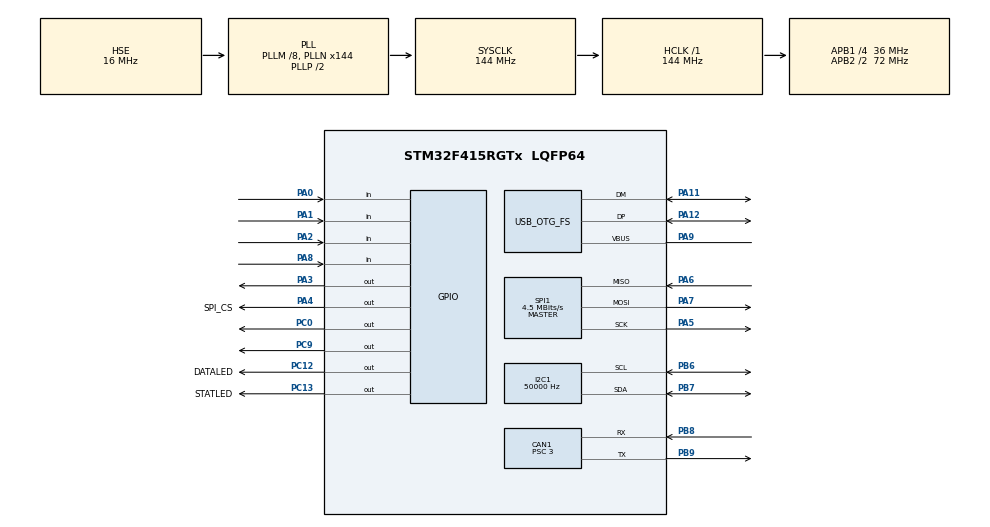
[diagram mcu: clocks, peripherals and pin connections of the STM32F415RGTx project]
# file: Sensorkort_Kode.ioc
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CAN1.BS1=CAN_BS1_11TQ
CAN1.BS2=CAN_BS2_4TQ
CAN1.CalculateBaudRate=749999
CAN1.CalculateTimeBit=1333
CAN1.CalculateTimeQuantum=83.33333333333334
CAN1.Prescaler=3
I2C1.ClockSpeed=50000
Mcu.Family=STM32F4
Mcu.Name=STM32F415RGTx
Mcu.Package=LQFP64
NVIC.CAN1_RX0_IRQn=true\:0\:0\:false\:false\:true\:true\:true
NVIC.OTG_FS_IRQn=true\:0\:0\:false\:false\:true\:false\:true
NVIC.PriorityGroup=NVIC_PRIORITYGROUP_4
PA0-WKUP.Signal=GPIO_Input
PA1.Signal=GPIO_Input
PA10.Signal=USB_OTG_FS_ID
PA11.Mode=Device_Only
PA11.Signal=USB_OTG_FS_DM
PA12.Mode=Device_Only
PA12.Signal=USB_OTG_FS_DP
PA13.Mode=Serial_Wire
PA13.Signal=SYS_JTMS-SWDIO
PA14.Mode=Serial_Wire
PA14.Signal=SYS_JTCK-SWCLK
PA15.Signal=SYS_JTDI
PA2.Signal=GPIO_Input
PA3.Signal=GPIO_Output
PA4.GPIO_Label=SPI_CS
PA4.GPIO_Speed=GPIO_SPEED_FREQ_HIGH
PA4.PinState=GPIO_PIN_SET
PA4.Signal=GPIO_Output
PA5.Mode=Full_Duplex_Master
PA5.Signal=SPI1_SCK
PA6.Mode=Full_Duplex_Master
PA6.Signal=SPI1_MISO
PA7.Mode=Full_Duplex_Master
PA7.Signal=SPI1_MOSI
PA8.Signal=GPIO_Input
PA9.Mode=Activate_VBUS
PA9.Signal=USB_OTG_FS_VBUS
PB3.Signal=SYS_JTDO-SWO
PB6.Mode=I2C
PB6.Signal=I2C1_SCL
PB7.Mode=I2C
PB7.Signal=I2C1_SDA
PB8.Mode=CAN_Activate
PB8.Signal=CAN1_RX
PB9.Mode=CAN_Activate
PB9.Signal=CAN1_TX
PC0.Signal=GPIO_Output
PC12.GPIO_Label=DATALED
PC12.Signal=GPIO_Output
PC13-ANTI_TAMP.GPIO_Label=STATLED
PC13-ANTI_TAMP.Signal=GPIO_Output
PC14-OSC32_IN.Mode=LSE-External-Oscillator
PC14-OSC32_IN.Signal=RCC_OSC32_IN
PC15-OSC32_OUT.Mode=LSE-External-Oscillator
PC15-OSC32_OUT.Signal=RCC_OSC32_OUT
PC9.Signal=GPIO_Output
PH0-OSC_IN.Mode=HSE-External-Oscillator
PH0-OSC_IN.Signal=RCC_OSC_IN
PH1-OSC_OUT.Mode=HSE-External-Oscillator
PH1-OSC_OUT.Signal=RCC_OSC_OUT
ProjectManager.HeapSize=0x200
ProjectManager.StackSize=0x400
ProjectManager.TargetToolchain=STM32CubeIDE
RCC.48MHZClocksFreq_Value=48000000
RCC.AHBFreq_Value=144000000
RCC.APB1CLKDivider=RCC_HCLK_DIV4
RCC.APB1Freq_Value=36000000
RCC.APB1TimFreq_Value=72000000
RCC.APB2CLKDivider=RCC_HCLK_DIV2
RCC.APB2Freq_Value=72000000
RCC.APB2TimFreq_Value=144000000
RCC.CortexFreq_Value=144000000
RCC.HCLKFreq_Value=144000000
RCC.HSE_VALUE=16000000
RCC.HSI_VALUE=16000000
RCC.PLLM=8
RCC.PLLN=144
RCC.PLLQ=6
RCC.SYSCLKFreq_VALUE=144000000
RCC.SYSCLKSource=RCC_SYSCLKSOURCE_PLLCLK
RCC.VCOOutputFreq_Value=288000000
SPI1.BaudRatePrescaler=SPI_BAUDRATEPRESCALER_16
SPI1.CLKPhase=SPI_PHASE_2EDGE
SPI1.CLKPolarity=SPI_POLARITY_HIGH
SPI1.CalculateBaudRate=4.5 MBits/s
SPI1.DataSize=SPI_DATASIZE_8BIT
SPI1.Direction=SPI_DIRECTION_2LINES
SPI1.Mode=SPI_MODE_MASTER
SPI1.VirtualType=VM_MASTER
USB_DEVICE.CLASS_NAME_FS=CDC
USB_DEVICE.PRODUCT_STRING_CDC_FS=Plattformkort
USB_DEVICE.VirtualMode-CDC_FS=Cdc
USB_DEVICE.VirtualModeFS=Cdc_FS
USB_OTG_FS.VirtualMode=Device_Only
VP_USB_DEVICE_VS_USB_DEVICE_CDC_FS.Mode=CDC_FS
board=custom

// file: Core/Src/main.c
/* USER CODE BEGIN Header */
/**
  ******************************************************************************
  * @file           : main.c
  * @brief          : Main program body
  ******************************************************************************
  * @attention
  *
  * Copyright (c) 2022 STMicroelectronics.
  * All rights reserved.
  *
  * This software is licensed under terms that can be found in the LICENSE file
  * in the root directory of this software component.
  * If no LICENSE file comes with this software, it is provided AS-IS.
  *
  ******************************************************************************
  */
/* USER CODE END Header */
#include "main.h"
#include "can.h"
#include "i2c.h"
#include "spi.h"
#include "usb_device.h"
#include "gpio.h"

/* USER CODE BEGIN Includes */

#include "usbd_cdc_if.h"
#include "string.h"
#include <stdio.h>
#include "icm20948.h"
#include "math.h"
#include "variabler.h"
#include "extern_variabler.h"
#include "stts75.h"
#include "trykk.h"

/* USER CODE END Includes */

void SystemClock_Config(void);
/* USER CODE BEGIN PFP */

void init_usbbuf(void);
void les_og_beregne_vinkler(kommskift kommunikasjonsmetode);
void les_og_behandle_temp(kommskift kommunikasjonsmetode);
void lag_datapakke_usb(void);
void lag_datapakker_CAN(void);
void oppstartCAN(uint8_t filterGruppe, CAN_HandleTypeDef *canPort);
void sendDataCAN(uint16_t id, CAN_HandleTypeDef *canPort);
void bryteravprelling(void);
temp_status TEMP_les(I2C_HandleTypeDef *handle, uint8_t Enhetavlesning, float *temp_f);
void senddatapakkerCAN(void);
void sjekklekkasje(void);
void TRYKKSENSOR_Initialiser(TRYKKSENSOR *dev, I2C_HandleTypeDef *i2cHandle);
trykk_status TRYKKSENSOR_LesKalibrering(TRYKKSENSOR *dev);
float TRYKKSENSOR_LesTrykk(TRYKKSENSOR *dev);
trykk_status TRYKK_sjekk(TRYKKSENSOR *dev, uint8_t *feil);
uint16_t dybdeutregning(float P0, float P, vanntetthet vanntype);

//void sjekkbryter(void);
/* USER CODE END PFP */

int main(void)
{
  /* USER CODE BEGIN 1 */

//	Initialisering av buffer for dataoverføring over USB
//------------------------------------------------------------
  init_usbbuf();

  /* USER CODE END 1 */

  /* MCU Configuration--------------------------------------------------------*/

  /* Reset of all peripherals, Initializes the Flash interface and the Systick. */
  HAL_Init();

  /* Configure the system clock */
  SystemClock_Config();

  /* Initialize all configured peripherals */
  MX_GPIO_Init();
  MX_CAN1_Init();
  MX_USB_DEVICE_Init();
  MX_SPI1_Init();
  MX_I2C1_Init();
  /* USER CODE BEGIN 2 */

// Initialiserer tickstart for sending og trykk
  tickstart = HAL_GetTick();
  trykktick = HAL_GetTick();

//initialiser 9DOF
//------------------------------------------------------------
  icm20948_init();

//	Oppstart av CAN
//------------------------------------------------------------
  oppstartCAN(3, &hcan1);
//------------------------------------------------------------

// Initialiserer trykksensoren.
//------------------------------------------------------------
  TRYKKSENSOR_Initialiser( &trykksensor, &hi2c1 );
  TRYKKSENSOR_LesKalibrering( &trykksensor );
//------------------------------------------------------------

//------------------------------------------------------------
//------------------------------------------------------------
//---------------------Kommunikasjontest----------------------
//------------------------------------------------------------
//  if(!icm20948_who_am_i()){
//	  kimufeil = 1;
//  }
//  icm20948_who_am_i();
//  TEMP_sjekk(&hi2c1, LES_AV_TEMP_SENS, &ktempfeil);
//  TRYKK_sjekk(&trykksensor, &ktrykkfeil);
//  sendDataCAN(85, &hcan1);
//  HAL_Delay(10);
//  if(ktempfeil == 0 && ktrykkfeil == 0 && kimufeil == 0 && canmottatt == 1){
//	  HAL_GPIO_WritePin(GPIOA, GPIO_PIN_3, 1);
//  }
//------------------------------------------------------------
//------------------------------------------------------------
//------------------------------------------------------------

  /* USER CODE END 2 */

  /* Infinite loop */
  while (1)
  {

    /* USER CODE BEGIN 3 */

//	  sjekklekkasje();

	  //------------------------------------------------------------
	  //------------------------------------------------------------
	  //------------------------Lekkasjetest------------------------
	  //------------------------------------------------------------

//	  if(HAL_GPIO_ReadPin(GPIOA, GPIO_PIN_2)){		// Om pinne PA2 (LEKK3) får høyt signal,
//	    HAL_GPIO_WritePin(GPIOA, GPIO_PIN_3, 1);	// gi ut høyt signal på pinne PA3 (aktiver lysdiode D3).
//	  }
//	  else{											// Ellers,
//	    HAL_GPIO_WritePin(GPIOA, GPIO_PIN_3, 0);	// gi ut lavt signal på pinne PA3 (deaktiver lysdiode D3)
//	  }

	  //------------------------------------------------------------
	  //------------------------------------------------------------
	  //------------------------------------------------------------

	  //------------------------------------------------------------
	  //------------------------------------------------------------
	  //--------------Testbryterlogikk for enkelttrykk--------------
	  //------------------------------------------------------------

//	  if((HAL_GetTick()-trykktick) >= 100){
//		  bryteravprelling();
//		  trykktick = HAL_GetTick();
//	  }
//
//	  if(klarnytttrykk && !startdata){
//		  HAL_GPIO_WritePin(GPIOC, STATLED_Pin, 1);
//		  HAL_GPIO_WritePin(GPIOC, DATALED_Pin, 0);
//	  }
//
//	  else if(klarnytttrykk == 0){
//		  HAL_GPIO_WritePin(GPIOC, STATLED_Pin, 0);
//		  HAL_GPIO_WritePin(GPIOC, DATALED_Pin, 1);
//	      TRYKKSENSOR_LesTrykk(&trykksensor, P0);         // Leser initialtrykk for å få kunne regne ut dybde
//	  }

	  //------------------------------------------------------------
	  //------------------------------------------------------------
	  //------------------------------------------------------------

	  //------------------------------------------------------------
	  //------------------------------------------------------------
	  //--------------Testbryterlogikk med avprelling---------------
	  //------------------------------------------------------------

//	  if((HAL_GetTick()-trykktick) >= 100){
//		  bryteravprelling();
//		  trykktick = HAL_GetTick();
//	  }
//
//	  if(gyldigtrykk){
//		  trykk++;
//		  if(trykk == 2){
//			  trykk = 0;
//		  }
//		  gyldigtrykk = 0;
//	  }
//
//
//
//	  if(trykk == 0){
//		  HAL_GPIO_WritePin(GPIOC, STATLED_Pin, 1);
//		  HAL_GPIO_WritePin(GPIOC, DATALED_Pin, 0);
//
//		  t1 = 0;
//		  sek = 0;
//		  imuinit = 0;
//		  forstemaaling = 0;
//
//	  }
//
//	  else if(trykk == 1){
//		  HAL_GPIO_WritePin(GPIOC, STATLED_Pin, 0);
//		  HAL_GPIO_WritePin(GPIOC, DATALED_Pin, 1);

	  //------------------------------------------------------------
	  //------------------------------------------------------------
	  //------------------------------------------------------------

	  //------------------------------------------------------------
	  //------------------------------------------------------------
	  //------------------------Testswitch--------------------------
	  //------------------------------------------------------------

//	  if(HAL_GPIO_ReadPin(GPIOA, GPIO_PIN_8) == 0){
//		  HAL_GPIO_WritePin(GPIOC, STATLED_Pin, 1);
//		  HAL_GPIO_WritePin(GPIOC, DATALED_Pin, 0);
//
//		  t1 = 0;
//		  sek = 0;
//		  imuinit = 0;
//		  forstemaaling = 0;
//
//	  }
//
//	  else if(HAL_GPIO_ReadPin(GPIOA, GPIO_PIN_8) == 1){
//		  HAL_GPIO_WritePin(GPIOC, STATLED_Pin, 0);
//		  HAL_GPIO_WritePin(GPIOC, DATALED_Pin, 1);

//	      TRYKKSENSOR_LesTrykk(&trykksensor);         // Les trykket og temperaturen, variablene blir lagt i structen.

	  //------------------------------------------------------------
	  //------------------------------------------------------------
	  //------------------------------------------------------------

	  //------------------------------------------------------------
	  //------------------------------------------------------------
	  //-----Er det sendt melding om å starte dataoverføring?-------
	  //------------------------------------------------------------

	  if(startdata == 0){
		  HAL_GPIO_WritePin(GPIOC, STATLED_Pin, 1);
		  HAL_GPIO_WritePin(GPIOC, DATALED_Pin, 0);

//		  t1 = 0;
//		  sek = 0;
//		  imuinit = 0;
//		  forstemaaling = 0;

	  }

	  else if(startdata == 1){

		  //------------------------------------------------------------
		  //------------------------------------------------------------
		  //---------------------Temperaturtest-------------------------
		  //------------------------------------------------------------

//		  // Om det er gått 1 minutt,
//		  if((HAL_GetTick()-tickstart) >= 60000 || forstemaaling == 0){
//
//			  // Les av temperatursensor, sett polaritetsflagg,
//			  // gjør om til uint8 og kopierer verdi inn i vektor for sending
//			  les_og_behandle_temp();
//
//			  // Send vektor med temperaturdata over USB
//			  CDC_Transmit_FS((uint8_t *)temp_usb, 6);
//
//			  // Resett teller
//			  tickstart = HAL_GetTick();
//
//			  // Ikke lengre første måling
//			  forstemaaling = 1;
//		  }

		  //------------------------------------------------------------
		  //------------------------------------------------------------
		  //------------------------------------------------------------

		  // Non-blocking delayfunksjon
		  if((HAL_GetTick()-tickstart) >= 50){

		  //------------------------------------------------------------
		  //----------------------Sensordatabehandling------------------
		  //----------------------og overføring til ROV-----------------
	      //------------------------------------------------------------
			  if(kalibrer){
				  P0 = TRYKKSENSOR_LesTrykk(&trykksensor);
				  kalibrer = 0;
			  }
			  // Leser av data fra gyroskop og akselerometer med skalert funksjon
			  les_og_beregne_vinkler(CAN);

			  // Leser av data fra temperatursensor
			  les_og_behandle_temp(CAN);

			  // Leser av trykk og gjør om til dybde
			  P = TRYKKSENSOR_LesTrykk(&trykksensor);
			  c_hiv = dybdeutregning(P0, P, FERSKVANN);

			  // Se etter lekkasje
			  sjekklekkasje();

			  //----------------------
			  // Sender data over CAN
			  //----------------------

			  lag_datapakker_CAN();

			  senddatapakkerCAN();

			  // resett timer
			  tickstart = HAL_GetTick();
		  }

			//------------------------------------------------------------
			//------------------------------------------------------------
			//------------------------------------------------------------

		  //------------------------------------------------------------
		  //------------------------------------------------------------
		  //-----------------------IMU-test-----------------------------
		  //------------------------------------------------------------

//			  // Leser av data fra gyroskop og akselerometer med skalert funksjon
//			  les_og_beregne_vinkler(USB);
//
//			  // Setter sammen data fra IMU
//			  lag_datapakke_usb();
//
//			  // Setter opp variabel for millisekund
//			  if(t1 == 0){
//				  tid = 0;
//				  t1 = HAL_GetTick();
//			  }
//			  else{
//				  t2 = HAL_GetTick();
//				  tid = t2-t1;
//			  }
//
//			  // Setter opp variabel for sekund
//			  if(tid >= 1000){
//				  sek += 1;
//				  tid -= 1000;
//				  t1 = HAL_GetTick();
//			  }
//
//			  // Deler opp 16-bits tidsdata til 8-bits data for sending over USB
//			  lsb_tid = ((uint16_t)tid >> 0) & 0xFF;
//			  msb_tid = ((uint16_t)tid >> 8) & 0xFF;
//
//			  lsb_sek = ((uint16_t)sek >> 0) & 0xFF;
//			  msb_sek = ((uint16_t)sek >> 8) & 0xFF;
//
//			  // Kopierer innhold fra tidsdata inn i datapakke
//			  memcpy(&imu_usb[1], &msb_sek, 1);
//			  memcpy(&imu_usb[2], &lsb_sek, 1);
//			  memcpy(&imu_usb[3], &msb_tid, 1);
//			  memcpy(&imu_usb[4], &lsb_tid, 1);
//
//
//			  // Sender IMU-datapakke med tid
//			  CDC_Transmit_FS((uint8_t *)imu_usb, 65);
//
//			  // resett timer
//			  tickstart = HAL_GetTick();
//		  }
			//------------------------------------------------------------
			//------------------------------------------------------------
			//------------------------------------------------------------

	//-------------------------------------
	// Slutt på if-setning rundt testbryter/varsel om dataoverføring
	//-------------------------------------
	  }
    //-------------------------------------
    //-------------------------------------

  }
  /* USER CODE END 3 */
}

void SystemClock_Config(void)
{
  RCC_OscInitTypeDef RCC_OscInitStruct = {0};
  RCC_ClkInitTypeDef RCC_ClkInitStruct = {0};

  /** Configure the main internal regulator output voltage
  */
  __HAL_RCC_PWR_CLK_ENABLE();
  __HAL_PWR_VOLTAGESCALING_CONFIG(PWR_REGULATOR_VOLTAGE_SCALE1);
  /** Initializes the RCC Oscillators according to the specified parameters
  * in the RCC_OscInitTypeDef structure.
  */
  RCC_OscInitStruct.OscillatorType = RCC_OSCILLATORTYPE_HSE;
  RCC_OscInitStruct.HSEState = RCC_HSE_ON;
  RCC_OscInitStruct.PLL.PLLState = RCC_PLL_ON;
  RCC_OscInitStruct.PLL.PLLSource = RCC_PLLSOURCE_HSE;
  RCC_OscInitStruct.PLL.PLLM = 8;
  RCC_OscInitStruct.PLL.PLLN = 144;
  RCC_OscInitStruct.PLL.PLLP = RCC_PLLP_DIV2;
  RCC_OscInitStruct.PLL.PLLQ = 6;
  if (HAL_RCC_OscConfig(&RCC_OscInitStruct) != HAL_OK)
  {
    Error_Handler();
  }
  /** Initializes the CPU, AHB and APB buses clocks
  */
  RCC_ClkInitStruct.ClockType = RCC_CLOCKTYPE_HCLK|RCC_CLOCKTYPE_SYSCLK
                              |RCC_CLOCKTYPE_PCLK1|RCC_CLOCKTYPE_PCLK2;
  RCC_ClkInitStruct.SYSCLKSource = RCC_SYSCLKSOURCE_PLLCLK;
  RCC_ClkInitStruct.AHBCLKDivider = RCC_SYSCLK_DIV1;
  RCC_ClkInitStruct.APB1CLKDivider = RCC_HCLK_DIV4;
  RCC_ClkInitStruct.APB2CLKDivider = RCC_HCLK_DIV2;

  if (HAL_RCC_ClockConfig(&RCC_ClkInitStruct, FLASH_LATENCY_4) != HAL_OK)
  {
    Error_Handler();
  }
}

/* USER CODE BEGIN 4 */
	//
	// Interupt for CAN-Buss mottak av data
	//

void HAL_CAN_RxFifo0MsgPendingCallback(CAN_HandleTypeDef *hcan11) {
    HAL_CAN_GetRxMessage(hcan11, CAN_RX_FIFO0, &rxHeader, canRX); //Receive CAN bus message to canRX buffer
    switch (rxHeader.StdId) {

    // Testkode for å sjekke kommunikasjon over CAN-buss
//	case 97:
//		canmottatt = 1;
//		break;

    // Mottar beskjed for å starte opp systemet
    case 96:
        HAL_GPIO_WritePin(GPIOC, STATLED_Pin, 0);
        HAL_GPIO_WritePin(GPIOC, DATALED_Pin, 1);
//        P0 = TRYKKSENSOR_LesTrykk(&trykksensor);
        startdata = 1;
        break;

	// Kommando for å kalibrere trykksensor og IMU
	case 126:
//		P0 = TRYKKSENSOR_LesTrykk(&trykksensor);
		kalibrer = 1;
		break;

    // Heartbeat
    case 127: // IKKE FJERN DENNE
//    	HAL_GPIO_WritePin(GPIOC, GPIO_PIN_0, 1);
//    	ping = HAL_GetTick();
        memcpy(csend, (uint8_t*) &"pong!\n", 6);
        sendDataCAN(190, &hcan1);
        break;

    }
}

	//
	//
	//
/* USER CODE END 4 */

void Error_Handler(void)
{
  __disable_irq();
  while (1)
  {
  }
}
